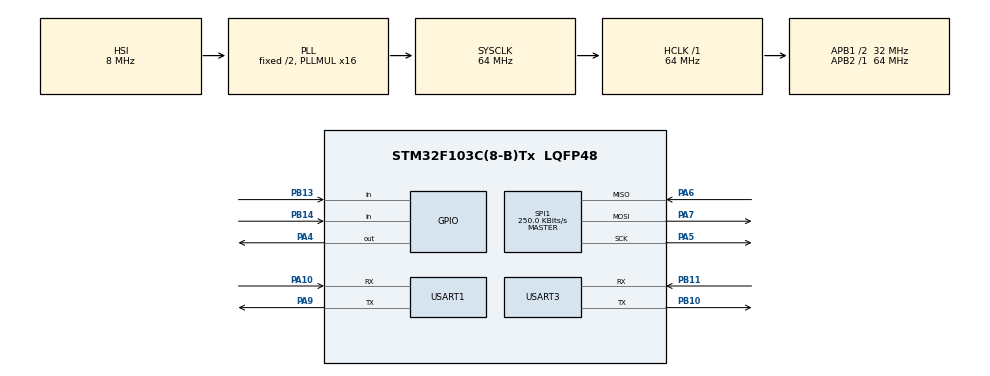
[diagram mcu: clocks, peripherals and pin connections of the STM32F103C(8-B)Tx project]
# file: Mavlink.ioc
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Dma.Request0=USART1_RX
Dma.Request1=USART1_TX
Dma.Request2=USART3_TX
Dma.Request3=USART3_RX
Dma.USART1_RX.0.Direction=DMA_PERIPH_TO_MEMORY
Dma.USART1_RX.0.Instance=DMA1_Channel5
Dma.USART1_RX.0.MemDataAlignment=DMA_MDATAALIGN_BYTE
Dma.USART1_RX.0.MemInc=DMA_MINC_ENABLE
Dma.USART1_RX.0.Mode=DMA_NORMAL
Dma.USART1_RX.0.PeriphDataAlignment=DMA_PDATAALIGN_BYTE
Dma.USART1_RX.0.PeriphInc=DMA_PINC_DISABLE
Dma.USART1_RX.0.Priority=DMA_PRIORITY_LOW
Dma.USART1_TX.1.Direction=DMA_MEMORY_TO_PERIPH
Dma.USART1_TX.1.Instance=DMA1_Channel4
Dma.USART1_TX.1.MemDataAlignment=DMA_MDATAALIGN_BYTE
Dma.USART1_TX.1.MemInc=DMA_MINC_ENABLE
Dma.USART1_TX.1.Mode=DMA_NORMAL
Dma.USART1_TX.1.PeriphDataAlignment=DMA_PDATAALIGN_BYTE
Dma.USART1_TX.1.PeriphInc=DMA_PINC_DISABLE
Dma.USART1_TX.1.Priority=DMA_PRIORITY_LOW
Dma.USART3_RX.3.Direction=DMA_PERIPH_TO_MEMORY
Dma.USART3_RX.3.Instance=DMA1_Channel3
Dma.USART3_RX.3.MemDataAlignment=DMA_MDATAALIGN_BYTE
Dma.USART3_RX.3.MemInc=DMA_MINC_ENABLE
Dma.USART3_RX.3.Mode=DMA_NORMAL
Dma.USART3_RX.3.PeriphDataAlignment=DMA_PDATAALIGN_BYTE
Dma.USART3_RX.3.PeriphInc=DMA_PINC_DISABLE
Dma.USART3_RX.3.Priority=DMA_PRIORITY_LOW
Dma.USART3_TX.2.Direction=DMA_MEMORY_TO_PERIPH
Dma.USART3_TX.2.Instance=DMA1_Channel2
Dma.USART3_TX.2.MemDataAlignment=DMA_MDATAALIGN_BYTE
Dma.USART3_TX.2.MemInc=DMA_MINC_ENABLE
Dma.USART3_TX.2.Mode=DMA_NORMAL
Dma.USART3_TX.2.PeriphDataAlignment=DMA_PDATAALIGN_BYTE
Dma.USART3_TX.2.PeriphInc=DMA_PINC_DISABLE
Dma.USART3_TX.2.Priority=DMA_PRIORITY_LOW
Mcu.Family=STM32F1
Mcu.Name=STM32F103C(8-B)Tx
Mcu.Package=LQFP48
NVIC.DMA1_Channel2_IRQn=true\:0\:0\:false\:false\:true\:false\:true\:true
NVIC.DMA1_Channel3_IRQn=true\:0\:0\:false\:false\:true\:false\:true\:true
NVIC.DMA1_Channel4_IRQn=true\:0\:0\:false\:false\:true\:false\:true\:true
NVIC.DMA1_Channel5_IRQn=true\:0\:0\:false\:false\:true\:false\:true\:true
NVIC.PriorityGroup=NVIC_PRIORITYGROUP_4
NVIC.TIM2_IRQn=true\:0\:0\:false\:false\:true\:true\:true\:true
NVIC.USART1_IRQn=true\:0\:0\:false\:false\:true\:true\:true\:true
NVIC.USART3_IRQn=true\:0\:0\:false\:false\:true\:true\:true\:true
PA10.Mode=Asynchronous
PA10.Signal=USART1_RX
PA13.Mode=Serial_Wire
PA13.Signal=SYS_JTMS-SWDIO
PA14.Mode=Serial_Wire
PA14.Signal=SYS_JTCK-SWCLK
PA4.PinState=GPIO_PIN_SET
PA4.Signal=GPIO_Output
PA5.Mode=Full_Duplex_Master
PA5.Signal=SPI1_SCK
PA6.Mode=Full_Duplex_Master
PA6.Signal=SPI1_MISO
PA7.Mode=Full_Duplex_Master
PA7.Signal=SPI1_MOSI
PA9.Mode=Asynchronous
PA9.Signal=USART1_TX
PB10.Mode=Asynchronous
PB10.Signal=USART3_TX
PB11.Mode=Asynchronous
PB11.Signal=USART3_RX
PB13.Signal=GPIO_Input
PB14.Signal=GPIO_Input
PD0-OSC_IN.Mode=HSE-External-Oscillator
PD0-OSC_IN.Signal=RCC_OSC_IN
PD1-OSC_OUT.Mode=HSE-External-Oscillator
PD1-OSC_OUT.Signal=RCC_OSC_OUT
ProjectManager.HeapSize=0x200
ProjectManager.StackSize=0x400
ProjectManager.TargetToolchain=MDK-ARM V5.32
RCC.AHBFreq_Value=64000000
RCC.APB1CLKDivider=RCC_HCLK_DIV2
RCC.APB1Freq_Value=32000000
RCC.APB1TimFreq_Value=64000000
RCC.APB2Freq_Value=64000000
RCC.APB2TimFreq_Value=64000000
RCC.HCLKFreq_Value=64000000
RCC.PLLMUL=RCC_PLL_MUL16
RCC.SYSCLKFreq_VALUE=64000000
RCC.SYSCLKSource=RCC_SYSCLKSOURCE_PLLCLK
RCC.USBFreq_Value=64000000
SPI1.BaudRatePrescaler=SPI_BAUDRATEPRESCALER_256
SPI1.CLKPolarity=SPI_POLARITY_HIGH
SPI1.CalculateBaudRate=250.0 KBits/s
SPI1.Direction=SPI_DIRECTION_2LINES
SPI1.FirstBit=SPI_FIRSTBIT_LSB
SPI1.Mode=SPI_MODE_MASTER
SPI1.VirtualType=VM_MASTER
TIM1.Prescaler=64-1
TIM2.Period=5000
TIM2.Prescaler=64-1
USART1.VirtualMode=VM_ASYNC
USART3.VirtualMode=VM_ASYNC
VP_TIM1_VS_ClockSourceINT.Mode=Internal
VP_TIM2_VS_ClockSourceINT.Mode=Internal
board=custom

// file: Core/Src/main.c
/* USER CODE BEGIN Header */
/**
  ******************************************************************************
  * @file           : main.c
  * @brief          : Main program body
  ******************************************************************************
  * @attention
  *
  * Copyright (c) 2024 STMicroelectronics.
  * All rights reserved.
  *
  * This software is licensed under terms that can be found in the LICENSE file
  * in the root directory of this software component.
  * If no LICENSE file comes with this software, it is provided AS-IS.
  *
  ******************************************************************************
  */
/* USER CODE END Header */
#include "main.h"
#include "dma.h"
#include "spi.h"
#include "tim.h"
#include "usart.h"
#include "gpio.h"

/* USER CODE BEGIN Includes */
#include "ps2.h"
#include "linkChassis.h"
#include "linkPS2.h"
/* USER CODE END Includes */

/* USER CODE BEGIN PV */
int flag = 0;
PS2 ps2 = { 0 };
/* USER CODE END PV */

void SystemClock_Config(void);

int main(void)
{

  /* MCU Configuration--------------------------------------------------------*/

  /* Reset of all peripherals, Initializes the Flash interface and the Systick. */
  HAL_Init();

  /* Configure the system clock */
  SystemClock_Config();

  /* Initialize all configured peripherals */
  MX_GPIO_Init();
  MX_DMA_Init();
  MX_USART1_UART_Init();
  MX_TIM1_Init();
  MX_SPI1_Init();
  MX_TIM2_Init();
  MX_USART3_UART_Init();
  /* USER CODE BEGIN 2 */

  //启动Mavlink
#define IS_PS2 1
#if IS_PS2
  link_PS2Start(&huart1, &htim2, &ps2);
  link_PS2Send();
#else
  link_chassisStart(&huart1);

#endif
  //初始化PS2
  PS2_Init(&htim1, &ps2, &hspi1, GPIOA, GPIO_PIN_4);

  /* USER CODE END 2 */

  /* Infinite loop */
  /* USER CODE BEGIN WHILE */
  while (1)
  {
    PS2_Read();
    // #if IS_PS2
    //     ps2.Rocker_LX += 1;
    //     ps2.Rocker_LY -= 1;
    // #endif
    HAL_Delay(5);
    /* USER CODE END WHILE */

  }
}

void SystemClock_Config(void)
{
  RCC_OscInitTypeDef RCC_OscInitStruct = {0};
  RCC_ClkInitTypeDef RCC_ClkInitStruct = {0};

  /** Initializes the RCC Oscillators according to the specified parameters
  * in the RCC_OscInitTypeDef structure.
  */
  RCC_OscInitStruct.OscillatorType = RCC_OSCILLATORTYPE_HSI;
  RCC_OscInitStruct.HSIState = RCC_HSI_ON;
  RCC_OscInitStruct.HSICalibrationValue = RCC_HSICALIBRATION_DEFAULT;
  RCC_OscInitStruct.PLL.PLLState = RCC_PLL_ON;
  RCC_OscInitStruct.PLL.PLLSource = RCC_PLLSOURCE_HSI_DIV2;
  RCC_OscInitStruct.PLL.PLLMUL = RCC_PLL_MUL16;
  if (HAL_RCC_OscConfig(&RCC_OscInitStruct) != HAL_OK)
  {
    Error_Handler();
  }

  /** Initializes the CPU, AHB and APB buses clocks
  */
  RCC_ClkInitStruct.ClockType = RCC_CLOCKTYPE_HCLK|RCC_CLOCKTYPE_SYSCLK
                              |RCC_CLOCKTYPE_PCLK1|RCC_CLOCKTYPE_PCLK2;
  RCC_ClkInitStruct.SYSCLKSource = RCC_SYSCLKSOURCE_PLLCLK;
  RCC_ClkInitStruct.AHBCLKDivider = RCC_SYSCLK_DIV1;
  RCC_ClkInitStruct.APB1CLKDivider = RCC_HCLK_DIV2;
  RCC_ClkInitStruct.APB2CLKDivider = RCC_HCLK_DIV1;

  if (HAL_RCC_ClockConfig(&RCC_ClkInitStruct, FLASH_LATENCY_2) != HAL_OK)
  {
    Error_Handler();
  }
}

void Error_Handler(void)
{
  __disable_irq();
  while (1)
  {
  }
}
